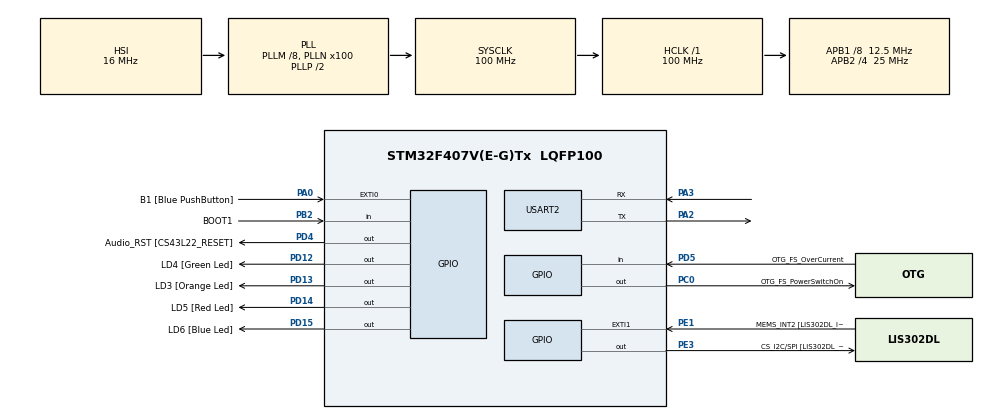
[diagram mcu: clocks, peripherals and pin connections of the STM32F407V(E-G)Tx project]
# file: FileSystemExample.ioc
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Mcu.Family=STM32F4
Mcu.Name=STM32F407V(E-G)Tx
Mcu.Package=LQFP100
NVIC.PriorityGroup=NVIC_PRIORITYGROUP_0
PA0-WKUP.GPIO_Label=B1 [Blue PushButton]
PA0-WKUP.GPIO_ModeDefaultEXTI=GPIO_MODE_EVT_RISING
PA0-WKUP.GPIO_PuPd=GPIO_NOPULL
PA0-WKUP.Signal=GPXTI0
PA10.GPIO_Label=OTG_FS_ID
PA10.GPIO_Mode=GPIO_MODE_AF_PP
PA10.GPIO_PuPd=GPIO_NOPULL
PA10.GPIO_Speed=GPIO_SPEED_FREQ_LOW
PA10.Signal=USB_OTG_FS_ID
PA11.GPIO_Label=OTG_FS_DM
PA11.GPIO_Mode=GPIO_MODE_AF_PP
PA11.GPIO_PuPd=GPIO_NOPULL
PA11.GPIO_Speed=GPIO_SPEED_FREQ_LOW
PA11.Signal=USB_OTG_FS_DM
PA12.GPIO_Label=OTG_FS_DP
PA12.GPIO_Mode=GPIO_MODE_AF_PP
PA12.GPIO_PuPd=GPIO_NOPULL
PA12.GPIO_Speed=GPIO_SPEED_FREQ_LOW
PA12.Signal=USB_OTG_FS_DP
PA13.GPIO_Label=SWDIO
PA13.Signal=SYS_JTMS-SWDIO
PA14.GPIO_Label=SWCLK
PA14.Signal=SYS_JTCK-SWCLK
PA2.Mode=Asynchronous
PA2.Signal=USART2_TX
PA3.Mode=Asynchronous
PA3.Signal=USART2_RX
PA4.GPIO_Label=I2S3_WS [CS43L22_LRCK]
PA4.GPIO_Mode=GPIO_MODE_AF_PP
PA4.GPIO_PuPd=GPIO_NOPULL
PA4.GPIO_Speed=GPIO_SPEED_FREQ_LOW
PA4.Signal=I2S3_WS
PA5.GPIO_Label=SPI1_SCK [LIS302DL_SCL/SPC]
PA5.GPIO_Mode=GPIO_MODE_AF_PP
PA5.GPIO_PuPd=GPIO_NOPULL
PA5.GPIO_Speed=GPIO_SPEED_FREQ_LOW
PA5.Signal=SPI1_SCK
PA6.GPIO_Label=SPI1_MISO [LIS302DL_SDO]
PA6.GPIO_Mode=GPIO_MODE_AF_PP
PA6.GPIO_PuPd=GPIO_NOPULL
PA6.GPIO_Speed=GPIO_SPEED_FREQ_LOW
PA6.Signal=SPI1_MISO
PA7.GPIO_Label=SPI1_MOSI [LIS302DL_SDA/SDI/SDO]
PA7.GPIO_Mode=GPIO_MODE_AF_PP
PA7.GPIO_PuPd=GPIO_NOPULL
PA7.GPIO_Speed=GPIO_SPEED_FREQ_LOW
PA7.Signal=SPI1_MOSI
PA9.GPIO_Label=VBUS_FS
PA9.GPIO_Mode=GPIO_MODE_INPUT
PA9.GPIO_PuPd=GPIO_NOPULL
PA9.Signal=USB_OTG_FS_VBUS
PB10.GPIO_Label=CLK_IN [MP45DT02_CLK]
PB10.GPIO_Mode=GPIO_MODE_AF_PP
PB10.GPIO_PuPd=GPIO_NOPULL
PB10.GPIO_Speed=GPIO_SPEED_FREQ_LOW
PB10.Signal=I2S2_CK
PB2.GPIO_Label=BOOT1
PB2.GPIO_Mode=GPIO_MODE_INPUT
PB2.GPIO_PuPd=GPIO_NOPULL
PB2.Signal=GPIO_Input
PB3.GPIO_Label=SWO
PB3.Signal=SYS_JTDO-SWO
PB6.GPIO_Label=Audio_SCL [CS43L22_SCL]
PB6.GPIO_Mode=GPIO_MODE_AF_OD
PB6.GPIO_PuPd=GPIO_NOPULL
PB6.GPIO_Speed=GPIO_SPEED_FREQ_LOW
PB6.Signal=I2C1_SCL
PB9.GPIO_Label=Audio_SDA [CS43L22_SDA]
PB9.GPIO_Mode=GPIO_MODE_AF_OD
PB9.GPIO_PuPd=GPIO_NOPULL
PB9.GPIO_Speed=GPIO_SPEED_FREQ_LOW
PB9.Signal=I2C1_SDA
PC0.GPIO_Label=OTG_FS_PowerSwitchOn
PC0.GPIO_PuPd=GPIO_NOPULL
PC0.GPIO_Speed=GPIO_SPEED_FREQ_LOW
PC0.Signal=GPIO_Output
PC10.GPIO_Label=I2S3_SCK [CS43L22_SCLK]
PC10.GPIO_Mode=GPIO_MODE_AF_PP
PC10.GPIO_PuPd=GPIO_NOPULL
PC10.GPIO_Speed=GPIO_SPEED_FREQ_LOW
PC10.Signal=I2S3_CK
PC12.GPIO_Label=I2S3_SD [CS43L22_SDIN]
PC12.GPIO_Mode=GPIO_MODE_AF_PP
PC12.GPIO_PuPd=GPIO_NOPULL
PC12.GPIO_Speed=GPIO_SPEED_FREQ_LOW
PC12.Signal=I2S3_SD
PC14-OSC32_IN.GPIO_Label=PC14-OSC32_IN
PC14-OSC32_IN.Signal=RCC_OSC32_IN
PC15-OSC32_OUT.GPIO_Label=PC15-OSC32_OUT
PC15-OSC32_OUT.Signal=RCC_OSC32_OUT
PC3.GPIO_Label=PDM_OUT [MP45DT02_DOUT]
PC3.GPIO_Mode=GPIO_MODE_AF_PP
PC3.GPIO_PuPd=GPIO_NOPULL
PC3.GPIO_Speed=GPIO_SPEED_FREQ_LOW
PC3.Signal=I2S2_SD
PC7.GPIO_Label=I2S3_MCK [CS43L22_MCLK]
PC7.GPIO_Mode=GPIO_MODE_AF_PP
PC7.GPIO_PuPd=GPIO_NOPULL
PC7.GPIO_Speed=GPIO_SPEED_FREQ_LOW
PC7.Signal=I2S3_MCK
PD12.GPIO_Label=LD4 [Green Led]
PD12.GPIO_PuPd=GPIO_NOPULL
PD12.GPIO_Speed=GPIO_SPEED_FREQ_LOW
PD12.Signal=GPIO_Output
PD13.GPIO_Label=LD3 [Orange Led]
PD13.GPIO_PuPd=GPIO_NOPULL
PD13.GPIO_Speed=GPIO_SPEED_FREQ_LOW
PD13.Signal=GPIO_Output
PD14.GPIO_Label=LD5 [Red Led]
PD14.GPIO_PuPd=GPIO_NOPULL
PD14.GPIO_Speed=GPIO_SPEED_FREQ_LOW
PD14.Signal=GPIO_Output
PD15.GPIO_Label=LD6 [Blue Led]
PD15.GPIO_PuPd=GPIO_NOPULL
PD15.GPIO_Speed=GPIO_SPEED_FREQ_LOW
PD15.Signal=GPIO_Output
PD4.GPIO_Label=Audio_RST [CS43L22_RESET]
PD4.GPIO_PuPd=GPIO_NOPULL
PD4.GPIO_Speed=GPIO_SPEED_FREQ_LOW
PD4.Signal=GPIO_Output
PD5.GPIO_Label=OTG_FS_OverCurrent
PD5.GPIO_Mode=GPIO_MODE_INPUT
PD5.GPIO_PuPd=GPIO_NOPULL
PD5.Signal=GPIO_Input
PE1.GPIO_Label=MEMS_INT2 [LIS302DL_INT2]
PE1.GPIO_ModeDefaultEXTI=GPIO_MODE_EVT_RISING
PE1.GPIO_PuPd=GPIO_NOPULL
PE1.Signal=GPXTI1
PE3.GPIO_Label=CS_I2C/SPI [LIS302DL_CS_I2C/SPI]
PE3.GPIO_PuPd=GPIO_NOPULL
PE3.GPIO_Speed=GPIO_SPEED_FREQ_LOW
PE3.Signal=GPIO_Output
PH0-OSC_IN.GPIO_Label=PH0-OSC_IN
PH0-OSC_IN.Signal=RCC_OSC_IN
PH1-OSC_OUT.GPIO_Label=PH1-OSC_OUT
PH1-OSC_OUT.Signal=RCC_OSC_OUT
ProjectManager.HeapSize=0x200
ProjectManager.StackSize=0x400
ProjectManager.TargetToolchain=SW4STM32
RCC.48MHZClocksFreq_Value=28571428.57142857
RCC.AHBFreq_Value=100000000
RCC.APB1CLKDivider=RCC_HCLK_DIV8
RCC.APB1Freq_Value=12500000
RCC.APB1TimFreq_Value=25000000
RCC.APB2CLKDivider=RCC_HCLK_DIV4
RCC.APB2Freq_Value=25000000
RCC.APB2TimFreq_Value=50000000
RCC.CortexFreq_Value=100000000
RCC.HCLKFreq_Value=100000000
RCC.HSE_VALUE=8000000
RCC.HSI_VALUE=16000000
RCC.LSE_VALUE=32768
RCC.PLLM=8
RCC.PLLN=100
RCC.PLLQ=7
RCC.SYSCLKFreq_VALUE=100000000
RCC.SYSCLKSource=RCC_SYSCLKSOURCE_PLLCLK
RCC.VCOOutputFreq_Value=200000000
board=STM32F4DISCOVERY

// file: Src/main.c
/**
  ******************************************************************************
  * File Name          : main.c
  * Description        : Main program body
  ******************************************************************************
  *
  * COPYRIGHT(c) 2016 STMicroelectronics
  *
  * Redistribution and use in source and binary forms, with or without modification,
  * are permitted provided that the following conditions are met:
  *   1. Redistributions of source code must retain the above copyright notice,
  *      this list of conditions and the following disclaimer.
  *   2. Redistributions in binary form must reproduce the above copyright notice,
  *      this list of conditions and the following disclaimer in the documentation
  *      and/or other materials provided with the distribution.
  *   3. Neither the name of STMicroelectronics nor the names of its contributors
  *      may be used to endorse or promote products derived from this software
  *      without specific prior written permission.
  *
  * THIS SOFTWARE IS PROVIDED BY THE COPYRIGHT HOLDERS AND CONTRIBUTORS "AS IS"
  * AND ANY EXPRESS OR IMPLIED WARRANTIES, INCLUDING, BUT NOT LIMITED TO, THE
  * IMPLIED WARRANTIES OF MERCHANTABILITY AND FITNESS FOR A PARTICULAR PURPOSE ARE
  * DISCLAIMED. IN NO EVENT SHALL THE COPYRIGHT HOLDER OR CONTRIBUTORS BE LIABLE
  * FOR ANY DIRECT, INDIRECT, INCIDENTAL, SPECIAL, EXEMPLARY, OR CONSEQUENTIAL
  * DAMAGES (INCLUDING, BUT NOT LIMITED TO, PROCUREMENT OF SUBSTITUTE GOODS OR
  * SERVICES; LOSS OF USE, DATA, OR PROFITS; OR BUSINESS INTERRUPTION) HOWEVER
  * CAUSED AND ON ANY THEORY OF LIABILITY, WHETHER IN CONTRACT, STRICT LIABILITY,
  * OR TORT (INCLUDING NEGLIGENCE OR OTHERWISE) ARISING IN ANY WAY OUT OF THE USE
  * OF THIS SOFTWARE, EVEN IF ADVISED OF THE POSSIBILITY OF SUCH DAMAGE.
  *
  ******************************************************************************
  */
#include "stm32f4xx_hal.h"
#include "usart.h"
#include "gpio.h"

/* USER CODE BEGIN Includes */
#include <stdio.h>
#include <stdlib.h>
/* USER CODE END Includes */

/* USER CODE BEGIN PV */
/* Private variables ---------------------------------------------------------*/

/* USER CODE END PV */

void SystemClock_Config(void);
void Error_Handler(void);

/* USER CODE BEGIN PFP */
/* Private function prototypes -----------------------------------------------*/

/* USER CODE END PFP */

int main(void)
{

  /* MCU Configuration----------------------------------------------------------*/

  /* Reset of all peripherals, Initializes the Flash interface and the Systick. */
  HAL_Init();

  /* Configure the system clock */
  SystemClock_Config();

  /* Initialize all configured peripherals */
  MX_GPIO_Init();
  MX_USART2_UART_Init();

  /* USER CODE BEGIN 2 */

  printf("Unit Test: Read-only File System\n");

  printf("- open two files\n");
  FILE *cfg = fopen("config.txt", "r");
  FILE *cfg_dbg = fopen("config_dbg.txt", "r");

  int reading;
  // first file
  printf("- parse file one\n");

  fscanf(cfg,"PWMDutyCycle=%d\n", &reading);
  assert_param(reading == 2000);
  fscanf(cfg,"PWMMax=%d\n", &reading);
  assert_param(reading == 4000);

  //second file
  printf("- parse file two\n");

  fscanf(cfg_dbg,"PWMDutyCycle=%d\n", &reading);
  assert_param(reading == 6000);
  fscanf(cfg_dbg,"PWMMax=%d\n", &reading);
  assert_param(reading == 10000);

  printf("- close files\n");
  fclose(cfg);
  fclose(cfg_dbg);

  //we could also use printf and get the stdout to a uart
  printf("Last reading: %d\n", reading);

  /* USER CODE END 2 */

  /* Infinite loop */
  while (1)
  {

  }

}

/** System Clock Configuration
*/
void SystemClock_Config(void)
{

  RCC_OscInitTypeDef RCC_OscInitStruct;
  RCC_ClkInitTypeDef RCC_ClkInitStruct;

  __HAL_RCC_PWR_CLK_ENABLE();

  __HAL_PWR_VOLTAGESCALING_CONFIG(PWR_REGULATOR_VOLTAGE_SCALE1);

  RCC_OscInitStruct.OscillatorType = RCC_OSCILLATORTYPE_HSI;
  RCC_OscInitStruct.HSIState = RCC_HSI_ON;
  RCC_OscInitStruct.HSICalibrationValue = 16;
  RCC_OscInitStruct.PLL.PLLState = RCC_PLL_ON;
  RCC_OscInitStruct.PLL.PLLSource = RCC_PLLSOURCE_HSI;
  RCC_OscInitStruct.PLL.PLLM = 8;
  RCC_OscInitStruct.PLL.PLLN = 100;
  RCC_OscInitStruct.PLL.PLLP = RCC_PLLP_DIV2;
  RCC_OscInitStruct.PLL.PLLQ = 7;
  if (HAL_RCC_OscConfig(&RCC_OscInitStruct) != HAL_OK)
  {
    Error_Handler();
  }

  RCC_ClkInitStruct.ClockType = RCC_CLOCKTYPE_HCLK|RCC_CLOCKTYPE_SYSCLK
                              |RCC_CLOCKTYPE_PCLK1|RCC_CLOCKTYPE_PCLK2;
  RCC_ClkInitStruct.SYSCLKSource = RCC_SYSCLKSOURCE_PLLCLK;
  RCC_ClkInitStruct.AHBCLKDivider = RCC_SYSCLK_DIV1;
  RCC_ClkInitStruct.APB1CLKDivider = RCC_HCLK_DIV8;
  RCC_ClkInitStruct.APB2CLKDivider = RCC_HCLK_DIV4;
  if (HAL_RCC_ClockConfig(&RCC_ClkInitStruct, FLASH_LATENCY_3) != HAL_OK)
  {
    Error_Handler();
  }

  HAL_SYSTICK_Config(HAL_RCC_GetHCLKFreq()/1000);

  HAL_SYSTICK_CLKSourceConfig(SYSTICK_CLKSOURCE_HCLK);

  /* SysTick_IRQn interrupt configuration */
  HAL_NVIC_SetPriority(SysTick_IRQn, 0, 0);
}

void Error_Handler(void)
{
  while(1)
  {
  }
}

#ifdef USE_FULL_ASSERT

/**
   * @brief Reports the name of the source file and the source line number
   * where the assert_param error has occurred.
   * @param file: pointer to the source file name
   * @param line: assert_param error line source number
   * @retval None
   */
void assert_failed(uint8_t* file, uint32_t line)
{
  /* USER CODE BEGIN 6 */
  /* User can add his own implementation to report the file name and line number,
    ex: printf("Wrong parameters value: file %s on line %d\r\n", file, line) */
	printf("Wrong parameters value: file %s on line %d\r\n", file, (int)line);
  /* USER CODE END 6 */

}

#endif

/************************ (C) COPYRIGHT STMicroelectronics *****END OF FILE****/
